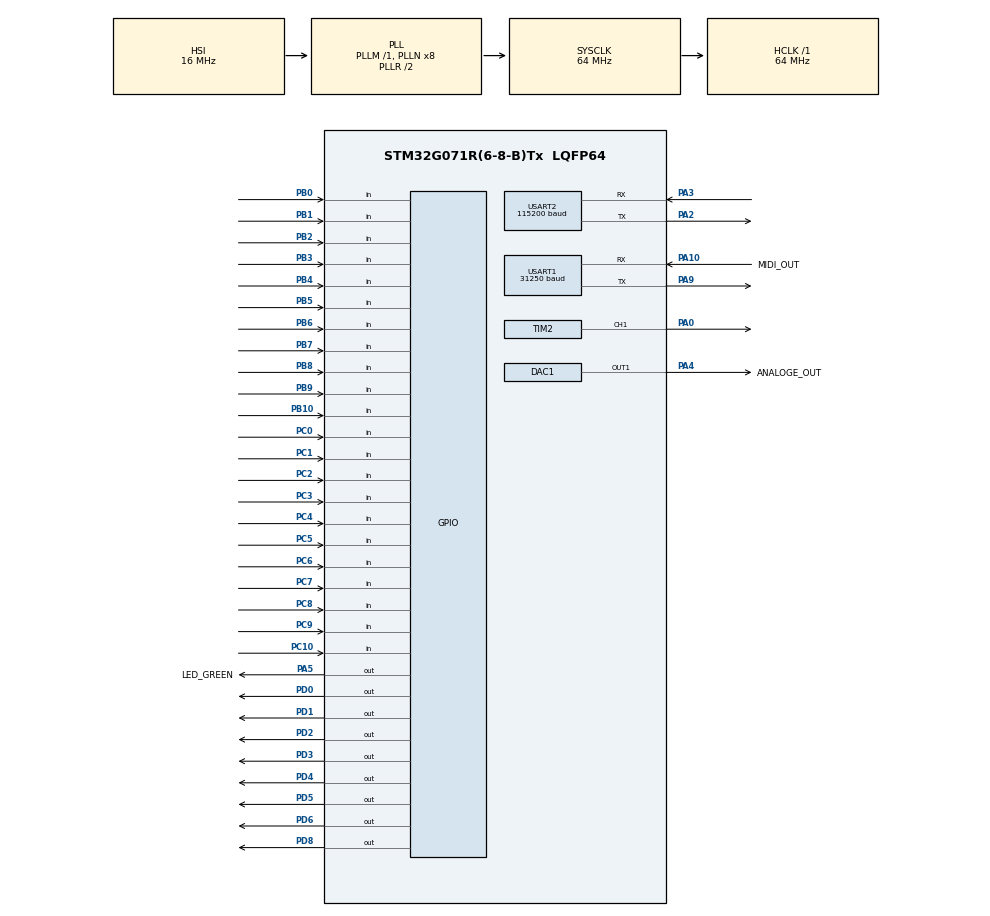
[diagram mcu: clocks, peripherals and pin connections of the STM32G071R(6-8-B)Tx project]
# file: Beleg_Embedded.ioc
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DAC1.DAC_Channel-DAC_OUT1_ExtAndInt=DAC_CHANNEL_1
Mcu.Family=STM32G0
Mcu.Name=STM32G071R(6-8-B)Tx
Mcu.Package=LQFP64
PA0.Signal=S_TIM2_CH1_ETR
PA10.GPIO_Label=MIDI_OUT
PA10.Mode=Asynchronous
PA10.Signal=USART1_RX
PA13.GPIO_Label=TMS
PA13.Mode=Serial_Wire
PA13.Signal=SYS_SWDIO
PA14-BOOT0.GPIO_Label=TCK
PA14-BOOT0.Mode=Serial_Wire
PA14-BOOT0.Signal=SYS_SWCLK
PA2.GPIO_ModeDefaultPP=GPIO_MODE_AF_PP
PA2.GPIO_PuPd=GPIO_NOPULL
PA2.GPIO_Speed=GPIO_SPEED_FREQ_LOW
PA2.Mode=Asynchronous
PA2.PinState=GPIO_PIN_RESET
PA2.Signal=USART2_TX
PA3.GPIO_ModeDefaultPP=GPIO_MODE_AF_PP
PA3.GPIO_PuPd=GPIO_NOPULL
PA3.GPIO_Speed=GPIO_SPEED_FREQ_LOW
PA3.Mode=Asynchronous
PA3.PinState=GPIO_PIN_RESET
PA3.Signal=USART2_RX
PA4.GPIO_Label=ANALOGE_OUT
PA4.Signal=COMP_DAC11_group
PA5.GPIO_Label=LED_GREEN
PA5.GPIO_Speed=GPIO_SPEED_FREQ_HIGH
PA5.Signal=GPIO_Output
PA9.Mode=Asynchronous
PA9.Signal=USART1_TX
PB0.Signal=GPIO_Input
PB1.Signal=GPIO_Input
PB10.Signal=GPIO_Input
PB2.Signal=GPIO_Input
PB3.Signal=GPIO_Input
PB4.Signal=GPIO_Input
PB5.Signal=GPIO_Input
PB6.Signal=GPIO_Input
PB7.Signal=GPIO_Input
PB8.Signal=GPIO_Input
PB9.Signal=GPIO_Input
PC0.Signal=GPIO_Input
PC1.Signal=GPIO_Input
PC10.Signal=GPIO_Input
PC13.Mode=SYS_WakeUp1
PC13.Signal=SYS_WKUP2
PC14-OSC32_IN\ (PC14).Mode=LSE-External-Oscillator
PC14-OSC32_IN\ (PC14).Signal=RCC_OSC32_IN
PC15-OSC32_OUT\ (PC15).Mode=LSE-External-Oscillator
PC15-OSC32_OUT\ (PC15).Signal=RCC_OSC32_OUT
PC2.Signal=GPIO_Input
PC3.Signal=GPIO_Input
PC4.Signal=GPIO_Input
PC5.Signal=GPIO_Input
PC6.Signal=GPIO_Input
PC7.Signal=GPIO_Input
PC8.Signal=GPIO_Input
PC9.Signal=GPIO_Input
PD0.Signal=GPIO_Output
PD1.Signal=GPIO_Output
PD2.Signal=GPIO_Output
PD3.Signal=GPIO_Output
PD4.Signal=GPIO_Output
PD5.Signal=GPIO_Output
PD6.Signal=GPIO_Output
PD8.Signal=GPIO_Output
PF0-OSC_IN\ (PF0).GPIO_Label=MCO
PF0-OSC_IN\ (PF0).Mode=HSE-External-Clock-Source
PF0-OSC_IN\ (PF0).Signal=RCC_OSC_IN
ProjectManager.HeapSize=0x200
ProjectManager.StackSize=0x400
ProjectManager.TargetToolchain=STM32CubeIDE
RCC.ADCFreq_Value=64000000
RCC.AHBFreq_Value=64000000
RCC.APB1CLKDivider=RCC_HCLK_DIV16
RCC.CortexFreq_Value=64000000
RCC.EXTERNAL_CLOCK_VALUE=12288000
RCC.HCLKFreq_Value=64000000
RCC.HSE_VALUE=8000000
RCC.HSISYSCLKDivider=RCC_HSI_DIV2
RCC.HSI_VALUE=16000000
RCC.SYSCLKFreq_VALUE=64000000
RCC.SYSCLKSource=RCC_SYSCLKSOURCE_PLLCLK
RCC.USART2CLockSelection=RCC_USART2CLKSOURCE_HSI
RCC.VCOOutputFreq_Value=128000000
SH.COMP_DAC11_group.0=DAC1_OUT1,DAC_OUT1_ExtAndInt
SH.S_TIM2_CH1_ETR.0=TIM2_CH1,Output Compare1 CH1
TIM2.AutoReloadPreload=TIM_AUTORELOAD_PRELOAD_ENABLE
TIM2.Channel-Output\ Compare1\ CH1=TIM_CHANNEL_1
TIM2.ClockDivision=TIM_CLOCKDIVISION_DIV1
TIM2.Prescaler=3125
USART1.BaudRate=31250
USART1.FIFOMode=FIFOMODE_ENABLE
USART1.Mode=MODE_TX
USART1.VirtualMode-Asynchronous=VM_ASYNC
USART1.WordLength=WORDLENGTH_8B
USART2.BaudRate=115200
USART2.VirtualMode-Asynchronous=VM_ASYNC
VP_SYS_VS_DBSignals.Mode=DisableDeadBatterySignals
VP_TIM2_VS_ClockSourceINT.Mode=Internal
board=NUCLEO-G071RB

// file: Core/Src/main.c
/* USER CODE BEGIN Header */
/**
  ******************************************************************************
  * @file           : main.c
  * @brief          : Main program body
  ******************************************************************************
  * @attention
  *
  * Copyright (c) 2022 STMicroelectronics.
  * All rights reserved.
  *
  * This software is licensed under terms that can be found in the LICENSE file
  * in the root directory of this software component.
  * If no LICENSE file comes with this software, it is provided AS-IS.
  *
  ******************************************************************************
  */
/* USER CODE END Header */
#include "main.h"

/* USER CODE BEGIN PM */
#define KEY_PORT GPIOD
#define BANK_MK_PORT GPIOB
#define BANK_BR_PORT GPIOC
#define MAX_KEYS 8
#define MAX_BANKS 11
/* USER CODE END PM */

DAC_HandleTypeDef hdac1;

TIM_HandleTypeDef htim2;

UART_HandleTypeDef huart1;
UART_HandleTypeDef huart2;

/* USER CODE BEGIN PV */
uint32_t keyMatrixMK[MAX_BANKS][MAX_KEYS];
uint32_t keyMatrixBR[MAX_BANKS][MAX_KEYS];
int keyMatrixMKPressed[MAX_BANKS][MAX_KEYS];
int keyMatrixBRPressed[MAX_BANKS][MAX_KEYS];
uint32_t keyMatrixTime[MAX_BANKS][MAX_KEYS];
uint32_t keyMatrixBROld[MAX_BANKS][MAX_KEYS];

unsigned char midi[3] = {0x09, 0, 0}; // NOTE ON on channel 1
/* USER CODE END PV */

void SystemClock_Config(void);
static void MX_GPIO_Init(void);
static void MX_USART2_UART_Init(void);
static void MX_TIM2_Init(void);
static void MX_USART1_UART_Init(void);
static void MX_DAC1_Init(void);

int main(void)
{

  /* MCU Configuration--------------------------------------------------------*/

  /* Reset of all peripherals, Initializes the Flash interface and the Systick. */
  HAL_Init();

  /* Configure the system clock */
  SystemClock_Config();

  /* Initialize all configured peripherals */
  MX_GPIO_Init();
  MX_USART2_UART_Init();
  MX_TIM2_Init();
  MX_USART1_UART_Init();
  MX_DAC1_Init();
  /* USER CODE BEGIN 2 */

  HAL_TIM_Base_Start(&htim2);

  /* USER CODE END 2 */

  /* Infinite loop */
  /* USER CODE BEGIN WHILE */
  while (1)
  {
	// Key request
	for (int key = 0; key < MAX_KEYS; ++key)
	{
		if(key == MAX_KEYS -1)
			HAL_GPIO_WritePin(KEY_PORT, key+1, GPIO_PIN_SET);
		else
			HAL_GPIO_WritePin(KEY_PORT, key, GPIO_PIN_SET);

		for (int bank = 0; bank < MAX_BANKS; ++bank)
		{
			/*
			if (key == MAX_KEYS - 1)
			{
				// MK is pressed
				if((HAL_GPIO_ReadPin(BANK_MK_PORT, key+1) == GPIO_PIN_SET)&&(keyMatrixMKPressed[bank][key] == 0))
				{
					keyMatrixMK[bank][key] = htim2.Instance->CNT;
					keyMatrixMKPressed[bank][key] = 1;
				}

				// BR is pressed
				if ((HAL_GPIO_ReadPin(BANK_BR_PORT, key+1) == GPIO_PIN_SET)&&(keyMatrixBRPressed[bank][key] == 0))
				{
					keyMatrixBR[bank][key] = htim2.Instance->CNT;
					keyMatrixBRPressed[bank][key] = 1;
				}

				// MK not pressed
				if(HAL_GPIO_ReadPin(BANK_MK_PORT, key+1) == GPIO_PIN_RESET)
				{
					keyMatrixMKPressed[bank][key] = 0;
				}

				// BR not pressed
				if(HAL_GPIO_ReadPin(BANK_BR_PORT, key+1) == GPIO_PIN_RESET)
				{
					keyMatrixBRPressed[bank][key] = 0;
				}
			}
			else */
			{
				// MK is pressed
				if((HAL_GPIO_ReadPin(BANK_MK_PORT, bank) == GPIO_PIN_SET)&&(keyMatrixMKPressed[bank][key] == 0))
				{
					keyMatrixMK[bank][key] = htim2.Instance->CNT;
					keyMatrixMKPressed[bank][key] = 1;
				}

				// BR is pressed
				if ((HAL_GPIO_ReadPin(BANK_BR_PORT, bank) == GPIO_PIN_SET)&&(keyMatrixBRPressed[bank][key] == 0))
				{
					keyMatrixBR[bank][key] = htim2.Instance->CNT;
					keyMatrixBRPressed[bank][key] = 1;
				}

				// MK not pressed
				if(HAL_GPIO_ReadPin(BANK_MK_PORT, bank) == GPIO_PIN_RESET)
				{
					keyMatrixMK[bank][key] = 0;
					keyMatrixMKPressed[bank][key] = 0;
				}

				// BR not pressed
				if(HAL_GPIO_ReadPin(BANK_BR_PORT, bank) == GPIO_PIN_RESET)
				{
					keyMatrixBR[bank][key] = 0;
					keyMatrixBRPressed[bank][key] = 0;
				}
			}

			if ((keyMatrixBR[bank][key] != keyMatrixBROld[bank][key]))
			{
				// calculate time diff
				if (keyMatrixBR[bank][key] < keyMatrixMK[bank][key])
				{
					keyMatrixTime[bank][key] = 0xFFFFFFFF - keyMatrixMK[bank][key] + keyMatrixBR[bank][key];
				}
				else
				{
					keyMatrixTime[bank][key] = keyMatrixBR[bank][key] - keyMatrixMK[bank][key];
				}

				// create MIDI package
				// note
				midi[1] = (bank * MAX_KEYS + key);
				// velocity
				if(keyMatrixTime[bank][key] > 5000)
					midi[2] = 0;
				else if(keyMatrixTime[bank][key] < 1000)
					midi[2] = 127;
				else
					midi[2] = 127 -((keyMatrixTime[bank][key] - 1000)/32);
				// send MIDI
				HAL_UART_Transmit(&huart2, midi, 3, 31250);
				// analoge
				//HAL_DAC_SetValue(&hdac1, DAC1_CHANNEL_1,DAC_ALIGN_12B_R,);
			}
		}
		if(key == MAX_KEYS-1)
			HAL_GPIO_WritePin(KEY_PORT, key+1, GPIO_PIN_RESET);
		else
			HAL_GPIO_WritePin(KEY_PORT, key, GPIO_PIN_RESET);
	}

    /* USER CODE END WHILE */

  }
}

void SystemClock_Config(void)
{
  RCC_OscInitTypeDef RCC_OscInitStruct = {0};
  RCC_ClkInitTypeDef RCC_ClkInitStruct = {0};

  /** Configure the main internal regulator output voltage
  */
  HAL_PWREx_ControlVoltageScaling(PWR_REGULATOR_VOLTAGE_SCALE1);

  /** Initializes the RCC Oscillators according to the specified parameters
  * in the RCC_OscInitTypeDef structure.
  */
  RCC_OscInitStruct.OscillatorType = RCC_OSCILLATORTYPE_HSI;
  RCC_OscInitStruct.HSIState = RCC_HSI_ON;
  RCC_OscInitStruct.HSIDiv = RCC_HSI_DIV2;
  RCC_OscInitStruct.HSICalibrationValue = RCC_HSICALIBRATION_DEFAULT;
  RCC_OscInitStruct.PLL.PLLState = RCC_PLL_ON;
  RCC_OscInitStruct.PLL.PLLSource = RCC_PLLSOURCE_HSI;
  RCC_OscInitStruct.PLL.PLLM = RCC_PLLM_DIV1;
  RCC_OscInitStruct.PLL.PLLN = 8;
  RCC_OscInitStruct.PLL.PLLP = RCC_PLLP_DIV2;
  RCC_OscInitStruct.PLL.PLLQ = RCC_PLLQ_DIV2;
  RCC_OscInitStruct.PLL.PLLR = RCC_PLLR_DIV2;
  if (HAL_RCC_OscConfig(&RCC_OscInitStruct) != HAL_OK)
  {
    Error_Handler();
  }

  /** Initializes the CPU, AHB and APB buses clocks
  */
  RCC_ClkInitStruct.ClockType = RCC_CLOCKTYPE_HCLK|RCC_CLOCKTYPE_SYSCLK
                              |RCC_CLOCKTYPE_PCLK1;
  RCC_ClkInitStruct.SYSCLKSource = RCC_SYSCLKSOURCE_PLLCLK;
  RCC_ClkInitStruct.AHBCLKDivider = RCC_SYSCLK_DIV1;
  RCC_ClkInitStruct.APB1CLKDivider = RCC_HCLK_DIV16;

  if (HAL_RCC_ClockConfig(&RCC_ClkInitStruct, FLASH_LATENCY_2) != HAL_OK)
  {
    Error_Handler();
  }
}

static void MX_DAC1_Init(void)
{

  DAC_ChannelConfTypeDef sConfig = {0};

  /** DAC Initialization
  */
  hdac1.Instance = DAC1;
  if (HAL_DAC_Init(&hdac1) != HAL_OK)
  {
    Error_Handler();
  }

  /** DAC channel OUT1 config
  */
  sConfig.DAC_SampleAndHold = DAC_SAMPLEANDHOLD_DISABLE;
  sConfig.DAC_Trigger = DAC_TRIGGER_NONE;
  sConfig.DAC_OutputBuffer = DAC_OUTPUTBUFFER_ENABLE;
  sConfig.DAC_ConnectOnChipPeripheral = DAC_CHIPCONNECT_ENABLE;
  sConfig.DAC_UserTrimming = DAC_TRIMMING_FACTORY;
  if (HAL_DAC_ConfigChannel(&hdac1, &sConfig, DAC_CHANNEL_1) != HAL_OK)
  {
    Error_Handler();
  }

}

static void MX_TIM2_Init(void)
{

  TIM_ClockConfigTypeDef sClockSourceConfig = {0};
  TIM_MasterConfigTypeDef sMasterConfig = {0};
  TIM_OC_InitTypeDef sConfigOC = {0};

  htim2.Instance = TIM2;
  htim2.Init.Prescaler = 3125;
  htim2.Init.CounterMode = TIM_COUNTERMODE_UP;
  htim2.Init.Period = 4294967295;
  htim2.Init.ClockDivision = TIM_CLOCKDIVISION_DIV1;
  htim2.Init.AutoReloadPreload = TIM_AUTORELOAD_PRELOAD_ENABLE;
  if (HAL_TIM_Base_Init(&htim2) != HAL_OK)
  {
    Error_Handler();
  }
  sClockSourceConfig.ClockSource = TIM_CLOCKSOURCE_INTERNAL;
  if (HAL_TIM_ConfigClockSource(&htim2, &sClockSourceConfig) != HAL_OK)
  {
    Error_Handler();
  }
  if (HAL_TIM_OC_Init(&htim2) != HAL_OK)
  {
    Error_Handler();
  }
  sMasterConfig.MasterOutputTrigger = TIM_TRGO_RESET;
  sMasterConfig.MasterSlaveMode = TIM_MASTERSLAVEMODE_DISABLE;
  if (HAL_TIMEx_MasterConfigSynchronization(&htim2, &sMasterConfig) != HAL_OK)
  {
    Error_Handler();
  }
  sConfigOC.OCMode = TIM_OCMODE_TIMING;
  sConfigOC.Pulse = 0;
  sConfigOC.OCPolarity = TIM_OCPOLARITY_HIGH;
  sConfigOC.OCFastMode = TIM_OCFAST_DISABLE;
  if (HAL_TIM_OC_ConfigChannel(&htim2, &sConfigOC, TIM_CHANNEL_1) != HAL_OK)
  {
    Error_Handler();
  }
  HAL_TIM_MspPostInit(&htim2);

}

static void MX_USART1_UART_Init(void)
{

  huart1.Instance = USART1;
  huart1.Init.BaudRate = 31250;
  huart1.Init.WordLength = UART_WORDLENGTH_8B;
  huart1.Init.StopBits = UART_STOPBITS_1;
  huart1.Init.Parity = UART_PARITY_NONE;
  huart1.Init.Mode = UART_MODE_TX;
  huart1.Init.HwFlowCtl = UART_HWCONTROL_NONE;
  huart1.Init.OverSampling = UART_OVERSAMPLING_16;
  huart1.Init.OneBitSampling = UART_ONE_BIT_SAMPLE_DISABLE;
  huart1.Init.ClockPrescaler = UART_PRESCALER_DIV1;
  huart1.AdvancedInit.AdvFeatureInit = UART_ADVFEATURE_NO_INIT;
  if (HAL_UART_Init(&huart1) != HAL_OK)
  {
    Error_Handler();
  }
  if (HAL_UARTEx_SetTxFifoThreshold(&huart1, UART_TXFIFO_THRESHOLD_1_8) != HAL_OK)
  {
    Error_Handler();
  }
  if (HAL_UARTEx_SetRxFifoThreshold(&huart1, UART_RXFIFO_THRESHOLD_1_8) != HAL_OK)
  {
    Error_Handler();
  }
  if (HAL_UARTEx_EnableFifoMode(&huart1) != HAL_OK)
  {
    Error_Handler();
  }

}

static void MX_USART2_UART_Init(void)
{

  huart2.Instance = USART2;
  huart2.Init.BaudRate = 115200;
  huart2.Init.WordLength = UART_WORDLENGTH_8B;
  huart2.Init.StopBits = UART_STOPBITS_1;
  huart2.Init.Parity = UART_PARITY_NONE;
  huart2.Init.Mode = UART_MODE_TX_RX;
  huart2.Init.HwFlowCtl = UART_HWCONTROL_NONE;
  huart2.Init.OverSampling = UART_OVERSAMPLING_16;
  huart2.Init.OneBitSampling = UART_ONE_BIT_SAMPLE_DISABLE;
  huart2.Init.ClockPrescaler = UART_PRESCALER_DIV1;
  huart2.AdvancedInit.AdvFeatureInit = UART_ADVFEATURE_NO_INIT;
  if (HAL_UART_Init(&huart2) != HAL_OK)
  {
    Error_Handler();
  }
  if (HAL_UARTEx_SetTxFifoThreshold(&huart2, UART_TXFIFO_THRESHOLD_1_8) != HAL_OK)
  {
    Error_Handler();
  }
  if (HAL_UARTEx_SetRxFifoThreshold(&huart2, UART_RXFIFO_THRESHOLD_1_8) != HAL_OK)
  {
    Error_Handler();
  }
  if (HAL_UARTEx_DisableFifoMode(&huart2) != HAL_OK)
  {
    Error_Handler();
  }

}

static void MX_GPIO_Init(void)
{
  GPIO_InitTypeDef GPIO_InitStruct = {0};

  /* GPIO Ports Clock Enable */
  __HAL_RCC_GPIOC_CLK_ENABLE();
  __HAL_RCC_GPIOF_CLK_ENABLE();
  __HAL_RCC_GPIOA_CLK_ENABLE();
  __HAL_RCC_GPIOB_CLK_ENABLE();
  __HAL_RCC_GPIOD_CLK_ENABLE();

  /*Configure GPIO pin Output Level */
  HAL_GPIO_WritePin(LED_GREEN_GPIO_Port, LED_GREEN_Pin, GPIO_PIN_RESET);

  /*Configure GPIO pin Output Level */
  HAL_GPIO_WritePin(GPIOD, GPIO_PIN_8|GPIO_PIN_0|GPIO_PIN_1|GPIO_PIN_2
                          |GPIO_PIN_3|GPIO_PIN_4|GPIO_PIN_5|GPIO_PIN_6, GPIO_PIN_RESET);

  /*Configure GPIO pins : PC0 PC1 PC2 PC3
                           PC4 PC5 PC6 PC7
                           PC8 PC9 PC10 */
  GPIO_InitStruct.Pin = GPIO_PIN_0|GPIO_PIN_1|GPIO_PIN_2|GPIO_PIN_3
                          |GPIO_PIN_4|GPIO_PIN_5|GPIO_PIN_6|GPIO_PIN_7
                          |GPIO_PIN_8|GPIO_PIN_9|GPIO_PIN_10;
  GPIO_InitStruct.Mode = GPIO_MODE_INPUT;
  GPIO_InitStruct.Pull = GPIO_PULLDOWN;
  HAL_GPIO_Init(GPIOC, &GPIO_InitStruct);

  /*Configure GPIO pin : LED_GREEN_Pin */
  GPIO_InitStruct.Pin = LED_GREEN_Pin;
  GPIO_InitStruct.Mode = GPIO_MODE_OUTPUT_PP;
  GPIO_InitStruct.Pull = GPIO_NOPULL;
  GPIO_InitStruct.Speed = GPIO_SPEED_FREQ_HIGH;
  HAL_GPIO_Init(LED_GREEN_GPIO_Port, &GPIO_InitStruct);

  /*Configure GPIO pins : PB0 PB1 PB2 PB10
                           PB3 PB4 PB5 PB6
                           PB7 PB8 PB9 */
  GPIO_InitStruct.Pin = GPIO_PIN_0|GPIO_PIN_1|GPIO_PIN_2|GPIO_PIN_10
                          |GPIO_PIN_3|GPIO_PIN_4|GPIO_PIN_5|GPIO_PIN_6
                          |GPIO_PIN_7|GPIO_PIN_8|GPIO_PIN_9;
  GPIO_InitStruct.Mode = GPIO_MODE_INPUT;
  GPIO_InitStruct.Pull = GPIO_PULLDOWN;
  HAL_GPIO_Init(GPIOB, &GPIO_InitStruct);

  /*Configure GPIO pins : PD8 PD0 PD1 PD2
                           PD3 PD4 PD5 PD6 */
  GPIO_InitStruct.Pin = GPIO_PIN_8|GPIO_PIN_0|GPIO_PIN_1|GPIO_PIN_2
                          |GPIO_PIN_3|GPIO_PIN_4|GPIO_PIN_5|GPIO_PIN_6;
  GPIO_InitStruct.Mode = GPIO_MODE_OUTPUT_PP;
  GPIO_InitStruct.Pull = GPIO_NOPULL;
  GPIO_InitStruct.Speed = GPIO_SPEED_FREQ_LOW;
  HAL_GPIO_Init(GPIOD, &GPIO_InitStruct);

}

void Error_Handler(void)
{
  __disable_irq();
  while (1)
  {
  }
}
